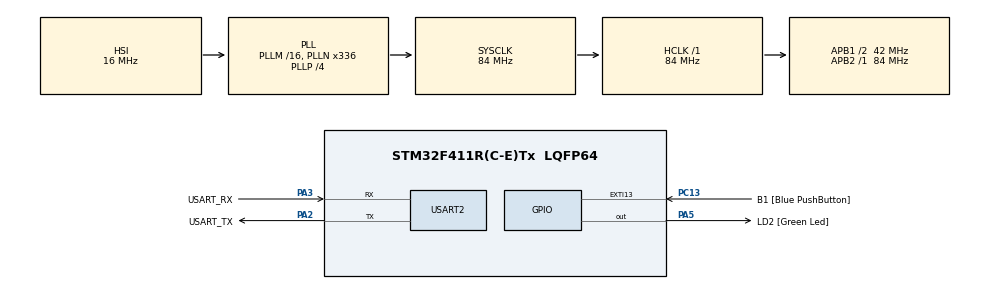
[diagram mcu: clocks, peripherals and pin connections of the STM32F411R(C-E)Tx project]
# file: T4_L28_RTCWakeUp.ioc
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Mcu.Family=STM32F4
Mcu.Name=STM32F411R(C-E)Tx
Mcu.Package=LQFP64
NVIC.PriorityGroup=NVIC_PRIORITYGROUP_0
NVIC.RTC_WKUP_IRQn=true\:0\:0\:false\:true\:true\:1\:true\:true
PA13.GPIO_Label=TMS
PA13.Mode=Serial_Wire
PA13.Signal=SYS_JTMS-SWDIO
PA14.GPIO_Label=TCK
PA14.Mode=Serial_Wire
PA14.Signal=SYS_JTCK-SWCLK
PA2.GPIO_Label=USART_TX
PA2.Mode=Asynchronous
PA2.Signal=USART2_TX
PA3.GPIO_Label=USART_RX
PA3.Mode=Asynchronous
PA3.Signal=USART2_RX
PA5.GPIO_Label=LD2 [Green Led]
PA5.Signal=GPIO_Output
PB3.GPIO_Label=SWO
PB3.Signal=SYS_JTDO-SWO
PC13-ANTI_TAMP.GPIO_Label=B1 [Blue PushButton]
PC13-ANTI_TAMP.GPIO_ModeDefaultEXTI=GPIO_MODE_IT_FALLING
PC13-ANTI_TAMP.Signal=GPXTI13
PC14-OSC32_IN.Mode=LSE-External-Oscillator
PC14-OSC32_IN.Signal=RCC_OSC32_IN
PC15-OSC32_OUT.Mode=LSE-External-Oscillator
PC15-OSC32_OUT.Signal=RCC_OSC32_OUT
PH0\ -\ OSC_IN.Mode=HSE-External-Clock-Source
PH0\ -\ OSC_IN.Signal=RCC_OSC_IN
PH1\ -\ OSC_OUT.Mode=HSE-External-Clock-Source
PH1\ -\ OSC_OUT.Signal=RCC_OSC_OUT
ProjectManager.HeapSize=0x200
ProjectManager.StackSize=0x400
ProjectManager.TargetToolchain=STM32CubeIDE
RCC.48MHZClocksFreq_Value=84000000
RCC.AHBFreq_Value=84000000
RCC.APB1CLKDivider=RCC_HCLK_DIV2
RCC.APB1Freq_Value=42000000
RCC.APB1TimFreq_Value=84000000
RCC.APB2Freq_Value=84000000
RCC.APB2TimFreq_Value=84000000
RCC.CortexFreq_Value=84000000
RCC.FLatency-AdvancedSettings=FLASH_LATENCY_2
RCC.HCLKFreq_Value=84000000
RCC.HSE_VALUE=8000000
RCC.HSI_VALUE=16000000
RCC.PLLN=336
RCC.PLLP=RCC_PLLP_DIV4
RCC.RCC_RTC_Clock_Source=RCC_RTCCLKSOURCE_LSE
RCC.RCC_RTC_Clock_SourceVirtual=RCC_RTCCLKSOURCE_LSE
RCC.SYSCLKFreq_VALUE=84000000
RCC.SYSCLKSource=RCC_SYSCLKSOURCE_PLLCLK
RCC.VCOOutputFreq_Value=336000000
RTC.Date=22
RTC.Format=RTC_FORMAT_BIN
RTC.Hours=13
RTC.Minutes=6
RTC.Month=RTC_MONTH_FEBRUARY
RTC.Seconds=10
RTC.WakeUpCounter=10240
RTC.Year=21
USART2.VirtualMode=VM_ASYNC
VP_RTC_VS_RTC_Activate.Mode=RTC_Enabled
VP_RTC_VS_RTC_Calendar.Mode=RTC_Calendar
VP_RTC_VS_RTC_WakeUp_intern.Mode=WakeUp
board=NUCLEO-F411RE

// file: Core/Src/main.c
/* USER CODE BEGIN Header */
/**
  ******************************************************************************
  * @file           : main.c
  * @brief          : Main program body
  ******************************************************************************
  * @attention
  *
  * <h2><center>&copy; Copyright (c) 2021 STMicroelectronics.
  * All rights reserved.</center></h2>
  *
  * This software component is licensed by ST under BSD 3-Clause license,
  * the "License"; You may not use this file except in compliance with the
  * License. You may obtain a copy of the License at:
  *                        opensource.org/licenses/BSD-3-Clause
  *
  ******************************************************************************
  */
/* USER CODE END Header */
#include "main.h"
#include "rtc.h"
#include "usart.h"
#include "gpio.h"

/* USER CODE BEGIN Includes */
#include "stdio.h"
/* USER CODE END Includes */

/* USER CODE BEGIN PV */
RTC_TimeTypeDef RtcTime;
RTC_DateTypeDef RtcDate;

uint8_t CompareSeconds;
uint8_t Message[64];
uint8_t MesLen;
/* USER CODE END PV */

void SystemClock_Config(void);
static void MX_NVIC_Init(void);
/* USER CODE BEGIN PFP */
void EnterLowPowerMode();
/* USER CODE END PFP */

int main(void)
{

  /* MCU Configuration--------------------------------------------------------*/

  /* Reset of all peripherals, Initializes the Flash interface and the Systick. */
  HAL_Init();

  /* Configure the system clock */
  SystemClock_Config();

  /* Initialize all configured peripherals */
  MX_GPIO_Init();
  MX_USART2_UART_Init();
  MX_RTC_Init();

  /* Initialize interrupts */
  MX_NVIC_Init();

  /* Infinite loop */
  /* USER CODE BEGIN WHILE */
  while (1)
  {
	  HAL_RTC_GetTime(&hrtc, &RtcTime, RTC_FORMAT_BIN);
	  HAL_RTC_GetDate(&hrtc, &RtcDate, RTC_FORMAT_BIN);

	  if(RtcTime.Seconds != CompareSeconds)
	  {
		  MesLen = sprintf((char*)Message,"Date: %02d.%02d.20%02d Time: %02d:%02d:%02d\n\r", RtcDate.Date, RtcDate.Month, RtcDate.Year, RtcTime.Hours, RtcTime.Minutes, RtcTime.Seconds);
		  HAL_UART_Transmit(&huart2, (uint8_t*)Message, MesLen, 1000);
		  CompareSeconds = RtcTime.Seconds;
	  }

	  if(HAL_GPIO_ReadPin( B1_GPIO_Port, B1_Pin) == GPIO_PIN_RESET)
	  {
		  EnterLowPowerMode();
		  while(HAL_GPIO_ReadPin( B1_GPIO_Port, B1_Pin) == GPIO_PIN_RESET){}
	  }
    /* USER CODE END WHILE */

  }
}

void SystemClock_Config(void)
{
  RCC_OscInitTypeDef RCC_OscInitStruct = {0};
  RCC_ClkInitTypeDef RCC_ClkInitStruct = {0};
  RCC_PeriphCLKInitTypeDef PeriphClkInitStruct = {0};

  /** Configure the main internal regulator output voltage
  */
  __HAL_RCC_PWR_CLK_ENABLE();
  __HAL_PWR_VOLTAGESCALING_CONFIG(PWR_REGULATOR_VOLTAGE_SCALE1);
  /** Initializes the RCC Oscillators according to the specified parameters
  * in the RCC_OscInitTypeDef structure.
  */
  RCC_OscInitStruct.OscillatorType = RCC_OSCILLATORTYPE_HSI|RCC_OSCILLATORTYPE_LSE;
  RCC_OscInitStruct.LSEState = RCC_LSE_ON;
  RCC_OscInitStruct.HSIState = RCC_HSI_ON;
  RCC_OscInitStruct.HSICalibrationValue = RCC_HSICALIBRATION_DEFAULT;
  RCC_OscInitStruct.PLL.PLLState = RCC_PLL_ON;
  RCC_OscInitStruct.PLL.PLLSource = RCC_PLLSOURCE_HSI;
  RCC_OscInitStruct.PLL.PLLM = 16;
  RCC_OscInitStruct.PLL.PLLN = 336;
  RCC_OscInitStruct.PLL.PLLP = RCC_PLLP_DIV4;
  RCC_OscInitStruct.PLL.PLLQ = 4;
  if (HAL_RCC_OscConfig(&RCC_OscInitStruct) != HAL_OK)
  {
    Error_Handler();
  }
  /** Initializes the CPU, AHB and APB buses clocks
  */
  RCC_ClkInitStruct.ClockType = RCC_CLOCKTYPE_HCLK|RCC_CLOCKTYPE_SYSCLK
                              |RCC_CLOCKTYPE_PCLK1|RCC_CLOCKTYPE_PCLK2;
  RCC_ClkInitStruct.SYSCLKSource = RCC_SYSCLKSOURCE_PLLCLK;
  RCC_ClkInitStruct.AHBCLKDivider = RCC_SYSCLK_DIV1;
  RCC_ClkInitStruct.APB1CLKDivider = RCC_HCLK_DIV2;
  RCC_ClkInitStruct.APB2CLKDivider = RCC_HCLK_DIV1;

  if (HAL_RCC_ClockConfig(&RCC_ClkInitStruct, FLASH_LATENCY_2) != HAL_OK)
  {
    Error_Handler();
  }
  PeriphClkInitStruct.PeriphClockSelection = RCC_PERIPHCLK_RTC;
  PeriphClkInitStruct.RTCClockSelection = RCC_RTCCLKSOURCE_LSE;
  if (HAL_RCCEx_PeriphCLKConfig(&PeriphClkInitStruct) != HAL_OK)
  {
    Error_Handler();
  }
}

/**
  * @brief NVIC Configuration.
  * @retval None
  */
static void MX_NVIC_Init(void)
{
  /* RTC_WKUP_IRQn interrupt configuration */
  HAL_NVIC_SetPriority(RTC_WKUP_IRQn, 0, 0);
  HAL_NVIC_EnableIRQ(RTC_WKUP_IRQn);
}

/* USER CODE BEGIN 4 */
void EnterLowPowerMode()
{
	/*## Enter STOP low power Mode ##########################################*/
	  /**
	  RTC Wakeup Interrupt Generation:
	  Wakeup Time Base = (RTC_WAKEUPCLOCK_RTCCLK_DIV /(LSE or LSI))
	  Wakeup Time = Wakeup Time Base * WakeUpCounter
	              = (RTC_WAKEUPCLOCK_RTCCLK_DIV /(LSE or LSI)) * WakeUpCounter
	  ==> WakeUpCounter = Wakeup Time / Wakeup Time Base

	  To configure the wake up timer to 5 s the WakeUpCounter is set to 0x2FA8:
	  RTC_WAKEUPCLOCK_RTCCLK_DIV = RTCCLK_Div16 = 16
	  Wakeup Time Base = 16 /(~32.000KHz) = ~0,5 ms
	  Wakeup Time = 5 s = 0,5ms  * WakeUpCounter
	  ==> WakeUpCounter = 5/0,5ms = 0x2710
	  **/
	  HAL_RTCEx_SetWakeUpTimer_IT(&hrtc, 10240, RTC_WAKEUPCLOCK_RTCCLK_DIV16);

	  HAL_SuspendTick();            /* To Avoid timer wake-up. */

	  /**
	  In PWR_MAINREGULATOR_ON mode, we measure 13.8/15.2uA on JP6
	  **/
	  HAL_PWR_EnterSTOPMode(PWR_MAINREGULATOR_ON,PWR_STOPENTRY_WFI);

	  /**
	  In PWR_LOWPOWERREGULATOR_ON mode, we measure 1.3/2.7uA on JP6
	  HAL_PWR_EnterSTOPMode(PWR_LOWPOWERREGULATOR_ON,PWR_STOPENTRY_WFI);
	  **/

	  /* We are now waiting for TAMPERF1 or WAKEUP interrupts (or Reset) */

	  HAL_ResumeTick();       /* Needed in case of Timer usage. */
	  HAL_RTCEx_DeactivateWakeUpTimer(&hrtc);

	  SystemClock_Config();   /* Re-configure the system clock */

}
/* USER CODE END 4 */

void Error_Handler(void)
{
  __disable_irq();
  while (1)
  {
  }
}

/************************ (C) COPYRIGHT STMicroelectronics *****END OF FILE****/
